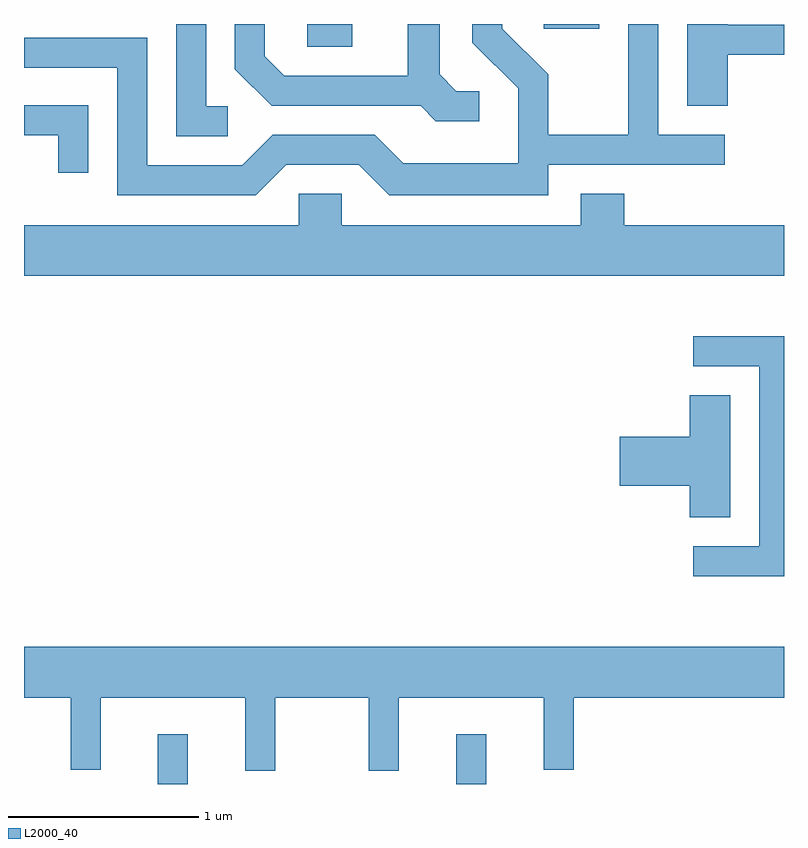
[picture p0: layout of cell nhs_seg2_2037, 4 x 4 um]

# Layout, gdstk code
import gdstk
lib = gdstk.Library(unit=1e-6, precision=1e-09)
def R(c, l, rs):  # rectangles x0, y0, x1, y1
    for r in rs: c.add(gdstk.rectangle(r[:2], r[2:], *l))
def P(c, l, *ps):  # polygons
    for p in ps: c.add(gdstk.Polygon(p, *l))
L2000_40 = (2000, 40)

nhs_seg2_2037 = lib.new_cell('nhs_seg2_2037')
R(nhs_seg2_2037, L2000_40, [(244.316,1107.802,244.474,1108.063), (245.886,1107.802,246.044,1108.063), (245.101,1111.681,245.339,1111.802), (246.346,1111.776,246.639,1111.802)])
P(nhs_seg2_2037, L2000_40, [(246.008,1111.449),(245.887,1111.449),(245.799,1111.537),(245.799,1111.802),(245.631,1111.802),(245.631,1111.529),(244.982,1111.529),(244.879,1111.632),(244.879,1111.802),(244.721,1111.802),(244.721,1111.564),(244.914,1111.371),(245.699,1111.371),(245.779,1111.291),(246.008,1111.291)],
  [(247.314,1111.641),(247.611,1111.641),(247.611,1111.799),(247.314,1111.799),(247.314,1111.802),(247.101,1111.802),(247.101,1111.371),(247.314,1111.371)],
  [(244.992,1111.061),(245.374,1111.061),(245.534,1110.901),(246.369,1110.901),(246.369,1111.061),(247.298,1111.061),(247.298,1111.219),(246.949,1111.219),(246.949,1111.802),(246.791,1111.802),(246.791,1111.219),(246.369,1111.219),(246.369,1111.537),(246.129,1111.777),(246.129,1111.802),(245.971,1111.802),(245.971,1111.704),(246.211,1111.464),(246.211,1111.069),(245.607,1111.069),(245.457,1111.219),(244.919,1111.219),(244.759,1111.059),(244.259,1111.059),(244.259,1111.729),(243.611,1111.729),(243.611,1111.571),(244.101,1111.571),(244.101,1110.901),(244.832,1110.901)],
  [(244.683,1111.369),(244.569,1111.369),(244.569,1111.802),(244.411,1111.802),(244.411,1111.211),(244.683,1111.211)],
  [(243.949,1111.374),(243.611,1111.374),(243.611,1111.216),(243.791,1111.216),(243.791,1111.018),(243.949,1111.018)],
  [(247.611,1110.744),(246.769,1110.744),(246.769,1110.909),(246.541,1110.909),(246.541,1110.744),(245.284,1110.744),(245.284,1110.909),(245.056,1110.909),(245.056,1110.744),(243.611,1110.744),(243.611,1110.476),(247.611,1110.476)],
  [(247.611,1110.159),(247.133,1110.159),(247.133,1110.001),(247.481,1110.001),(247.481,1109.054),(247.133,1109.054),(247.133,1108.896),(247.611,1108.896)],
  [(247.329,1109.849),(247.116,1109.849),(247.116,1109.629),(246.746,1109.629),(246.746,1109.371),(247.116,1109.371),(247.116,1109.206),(247.329,1109.206)],
  [(243.611,1108.256),(243.856,1108.256),(243.856,1107.878),(244.014,1107.878),(244.014,1108.256),(244.776,1108.256),(244.776,1107.873),(244.934,1107.873),(244.934,1108.256),(245.426,1108.256),(245.426,1107.873),(245.584,1107.873),(245.584,1108.256),(246.346,1108.256),(246.346,1107.878),(246.504,1107.878),(246.504,1108.256),(247.611,1108.256),(247.611,1108.524),(243.611,1108.524)])

lib.write_gds('nhs_seg2_2037.gds')
